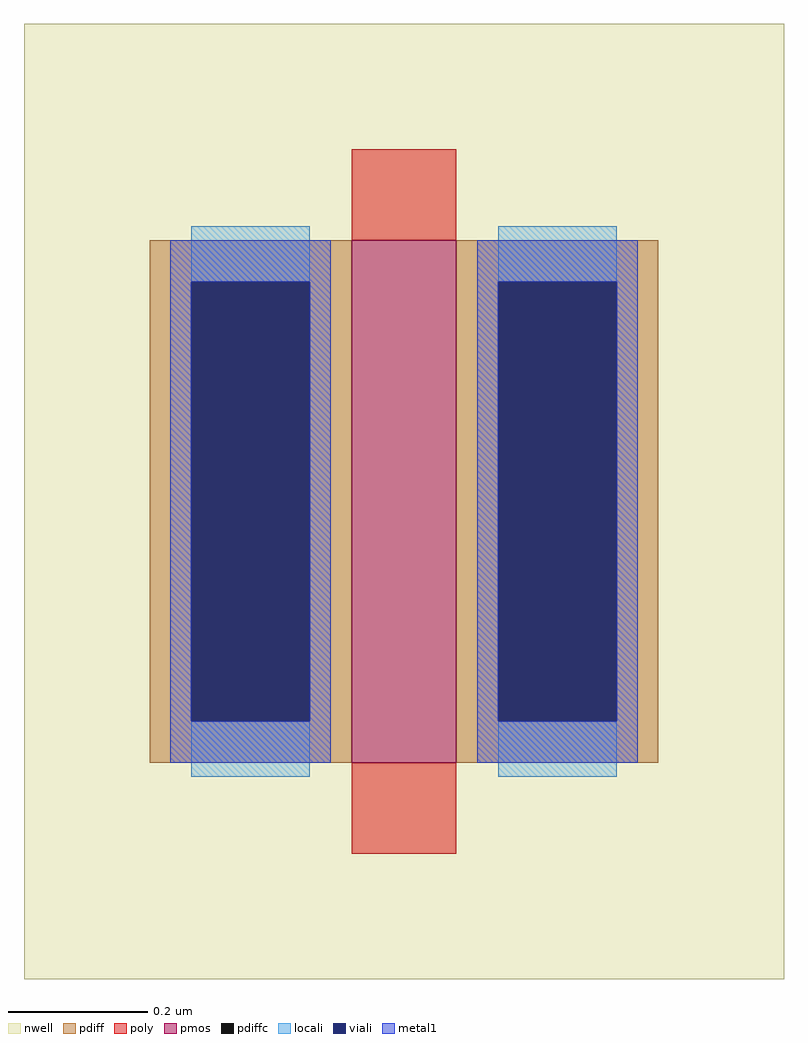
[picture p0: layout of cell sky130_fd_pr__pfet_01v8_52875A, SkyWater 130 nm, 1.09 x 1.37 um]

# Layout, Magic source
magic
tech sky130A
magscale 1 2
<< nwell >>
rect -109 -137 109 137
<< pmos >>
rect -15 -75 15 75
<< pdiff >>
rect -73 63 -15 75
rect -73 -63 -61 63
rect -27 -63 -15 63
rect -73 -75 -15 -63
rect 15 63 73 75
rect 15 -63 27 63
rect 61 -63 73 63
rect 15 -75 73 -63
<< pdiffc >>
rect -61 -63 -27 63
rect 27 -63 61 63
<< poly >>
rect -15 75 15 101
rect -15 -101 15 -75
<< locali >>
rect -61 63 -27 79
rect -61 -79 -27 -63
rect 27 63 61 79
rect 27 -79 61 -63
<< viali >>
rect -61 -63 -27 63
rect 27 -63 61 63
<< metal1 >>
rect -67 63 -21 75
rect -67 -63 -61 63
rect -27 -63 -21 63
rect -67 -75 -21 -63
rect 21 63 67 75
rect 21 -63 27 63
rect 61 -63 67 63
rect 21 -75 67 -63
<< properties >>
string gencell sky130_fd_pr__pfet_01v8
string library sky130
string parameters w 0.75 l 0.15 m 1 nf 1 diffcov 100 polycov 100 guard 0 glc 0 grc 0 gtc 0 gbc 0 tbcov 100 rlcov 100 topc 0 botc 0 poverlap 0 doverlap 1 lmin 0.15 wmin 0.42 compatible {sky130_fd_pr__pfet_01v8  sky130_fd_pr__pfet_01v8_lvt sky130_fd_pr__pfet_01v8_hvt  sky130_fd_pr__pfet_g5v0d10v5} full_metal 0 viasrc 100 viadrn 100 viagate 100 viagb 0 viagr 0 viagl 0 viagt 0
<< end >>
